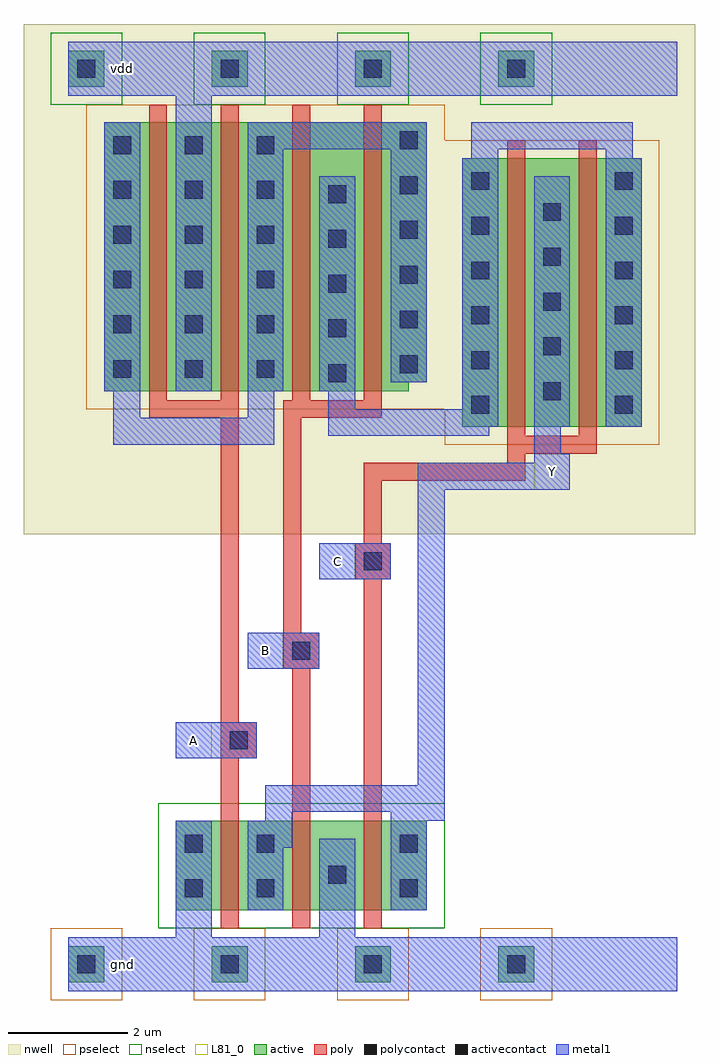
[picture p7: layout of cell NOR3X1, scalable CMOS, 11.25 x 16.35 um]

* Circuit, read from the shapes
.subckt NOR3X1 A B C Y gnd vdd
M1 Y A gnd gnd nfet w=1.5u l=0.3u
M2 gnd B Y gnd nfet w=1.5u l=0.3u
M3 Y C gnd gnd nfet w=1.5u l=0.3u
M4 vdd A n1 vdd pfet w=4.5u l=0.3u m=2
M5 n2 B n1 vdd pfet w=4.5u l=0.3u m=2
M6 Y C n2 vdd pfet w=4.5u l=0.3u m=2
.ends

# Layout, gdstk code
import gdstk
lib = gdstk.Library(unit=1e-6, precision=1e-09)
def R(c, l, rs):  # rectangles x0, y0, x1, y1
    for r in rs: c.add(gdstk.rectangle(r[:2], r[2:], *l))
def A(c, l, x, y, w, h, nx, ny, dx, dy):  # array of equal rectangles
    R(c, l, [(x+i*dx, y+j*dy, x+i*dx+w, y+j*dy+h) for i in range(nx) for j in range(ny)])
nwell = (42, 0)
active = (43, 0)
pselect = (44, 0)
nselect = (45, 0)
poly = (46, 0)
polycontact = (47, 0)
activecontact = (48, 0)
metal1 = (49, 0)
L81_0 = (81, 0)

nor3x1 = lib.new_cell('NOR3X1')
R(nor3x1, nwell, [(-1.05,7.2,10.2,15.75)])
A(nor3x1, active, -0.3, -0.3, 0.6, 0.6, 4, 2, 2.4, 15)
R(nor3x1, active, [(1.5,0.9,5.7,2.4), (6.3,9,9.3,13.5), (0.3,9.6,5.4,9.75), (0.3,9.75,5.7,14.1)])
A(nor3x1, pselect, -0.6, -0.6, 1.2, 1.2, 4, 1, 2.4, 0)
R(nor3x1, pselect, [(6,8.7,9.6,9.3), (0,9.3,9.6,13.8), (0,13.8,6,14.4)])
A(nor3x1, nselect, -0.6, 14.4, 1.2, 1.2, 4, 1, 2.4, 0)
R(nor3x1, nselect, [(1.2,0.6,6,2.7)])
A(nor3x1, poly, 1.05, 9.45, 0.3, 4.95, 4, 1, 1.2, 0)
R(nor3x1, poly, [(2.25,0.6,2.55,3.45), (3.45,0.6,3.75,4.95), (4.65,0.6,4.95,6.45), (2.25,3.45,2.85,4.05), (2.25,4.05,2.55,9.15), (3.3,4.95,3.9,5.55), (3.3,5.55,3.6,9.15), (4.5,6.45,5.1,7.05), (4.65,7.05,4.95,8.1), (4.65,8.1,7.35,8.4), (7.05,8.4,7.35,8.55), (7.05,8.55,8.55,8.85), (7.05,8.85,7.35,13.8), (8.25,8.85,8.55,13.8), (1.05,9.15,2.55,9.45), (3.3,9.15,4.95,9.45)])
R(nor3x1, polycontact, [(2.4,3.6,2.7,3.9), (3.45,5.1,3.75,5.4), (4.65,6.6,4.95,6.9)])
A(nor3x1, activecontact, -0.15, -0.15, 0.3, 0.3, 4, 2, 2.4, 15)
A(nor3x1, activecontact, 6.45, 9.22, 0.3, 0.3, 1, 6, 0, 0.75)
A(nor3x1, activecontact, 8.85, 9.22, 0.3, 0.3, 1, 6, 0, 0.75)
A(nor3x1, activecontact, 7.65, 9.45, 0.3, 0.3, 1, 5, 0, 0.75)
A(nor3x1, activecontact, 4.05, 9.75, 0.3, 0.3, 1, 5, 0, 0.75)
A(nor3x1, activecontact, 0.45, 9.82, 0.3, 0.3, 3, 6, 1.2, 0.75)
A(nor3x1, activecontact, 5.25, 9.9, 0.3, 0.3, 1, 6, 0, 0.75)
R(nor3x1, activecontact, [(1.65,1.12,1.95,1.42), (2.85,1.12,3.15,1.42), (5.25,1.12,5.55,1.42), (4.05,1.35,4.35,1.65), (1.65,1.87,1.95,2.17), (2.85,1.87,3.15,2.17), (5.25,1.87,5.55,2.17)])
R(nor3x1, metal1, [(-0.3,-0.45,9.9,0.45), (1.5,0.45,2.1,2.4), (3.9,0.45,4.5,2.1), (2.7,0.9,3.3,1.95), (5.1,0.9,5.7,2.4), (2.7,1.95,3.45,2.4), (3,2.4,3.45,2.55), (5.1,2.4,6,2.55), (3,2.55,6,3), (5.55,3,6,7.95), (1.5,3.45,2.85,4.05), (2.7,4.95,3.9,5.55), (3.9,6.45,5.1,7.05), (5.55,7.95,8.1,8.4), (7.5,8.4,8.1,8.55), (7.5,8.55,7.95,9), (0.45,8.7,3.15,9.15), (4.05,8.85,6.75,9), (4.05,9,6.9,9.3), (7.5,9,8.1,13.2), (8.7,9,9.3,13.5), (0.45,9.15,0.9,9.6), (2.7,9.15,3.15,9.6), (4.05,9.3,4.5,9.6), (6.3,9.3,6.9,13.5), (0.3,9.6,0.9,14.1), (1.5,9.6,2.1,14.55), (2.7,9.6,3.3,13.65), (3.9,9.6,4.5,13.2), (5.1,9.75,5.7,13.65), (6.45,13.5,6.9,13.65), (8.7,13.5,9.15,13.65), (2.7,13.65,5.7,14.1), (6.45,13.65,9.15,14.1), (-0.3,14.55,9.9,15.45)])
R(nor3x1, L81_0, [(1.5,3.45,2.1,4.05), (2.7,4.95,3.3,5.55), (3.9,6.45,4.5,7.05), (7.5,7.95,8.1,8.55)])
nor3x1.add(gdstk.Label('vdd', (0.6,15), layer=109, texttype=0))
nor3x1.add(gdstk.Label('gnd', (0.6,0), layer=109, texttype=0))
nor3x1.add(gdstk.Label('B', (3,5.25), layer=109, texttype=0))
nor3x1.add(gdstk.Label('C', (4.2,6.75), layer=109, texttype=0))
nor3x1.add(gdstk.Label('A', (1.8,3.75), layer=109, texttype=0))
nor3x1.add(gdstk.Label('Y', (7.8,8.25), layer=109, texttype=0))

lib.write_gds('NOR3X1.gds')
